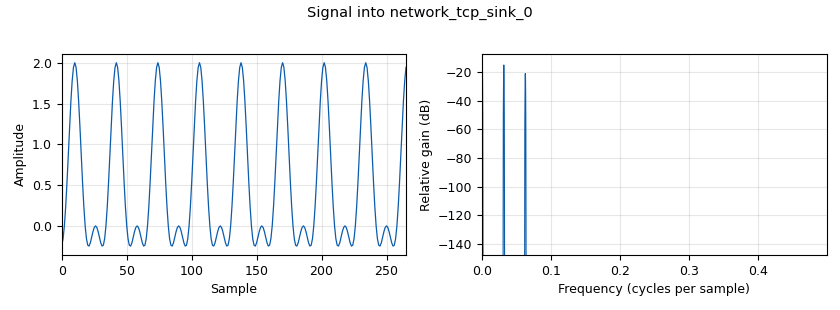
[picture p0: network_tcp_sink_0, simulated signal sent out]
options:
  parameters:
    generate_options: qt_gui
    id: AM_Tx
    output_language: python
    title: Not titled yet
  states: {}

blocks:
- name: samp_rate
  id: variable
  parameters:
    value: '32000'
  states: {}
- name: analog_const_source_x_0
  id: analog_const_source_x
  parameters:
    const: '1'
    type: float
  states: {}
- name: analog_sig_source_x_0
  id: analog_sig_source_x
  parameters:
    amp: '1'
    freq: '1000'
    offset: '0'
    phase: '0'
    samp_rate: samp_rate
    type: float
    waveform: analog.GR_COS_WAVE
  states: {}
- name: analog_sig_source_x_1
  id: analog_sig_source_x
  parameters:
    amp: '1'
    freq: '1000'
    offset: '0'
    phase: '0'
    samp_rate: samp_rate
    type: float
    waveform: analog.GR_COS_WAVE
  states: {}
- name: blocks_add_xx_0
  id: blocks_add_xx
  parameters:
    type: float
  states: {}
- name: blocks_multiply_xx_0
  id: blocks_multiply_xx
  parameters:
    type: float
  states: {}
- name: blocks_throttle_0
  id: blocks_throttle
  parameters:
    samples_per_second: samp_rate
    type: float
  states: {}
- name: network_tcp_sink_0
  id: network_tcp_sink
  parameters:
    addr: 127.0.0.1
    mode: '1'
    port: '2000'
    type: float
  states: {}

connections:
- [analog_const_source_x_0, '0', blocks_add_xx_0, '0']
- [analog_sig_source_x_0, '0', blocks_multiply_xx_0, '0']
- [analog_sig_source_x_1, '0', blocks_add_xx_0, '1']
- [blocks_add_xx_0, '0', blocks_multiply_xx_0, '1']
- [blocks_multiply_xx_0, '0', blocks_throttle_0, '0']
- [blocks_throttle_0, '0', network_tcp_sink_0, '0']

metadata:
  file_format: 1
